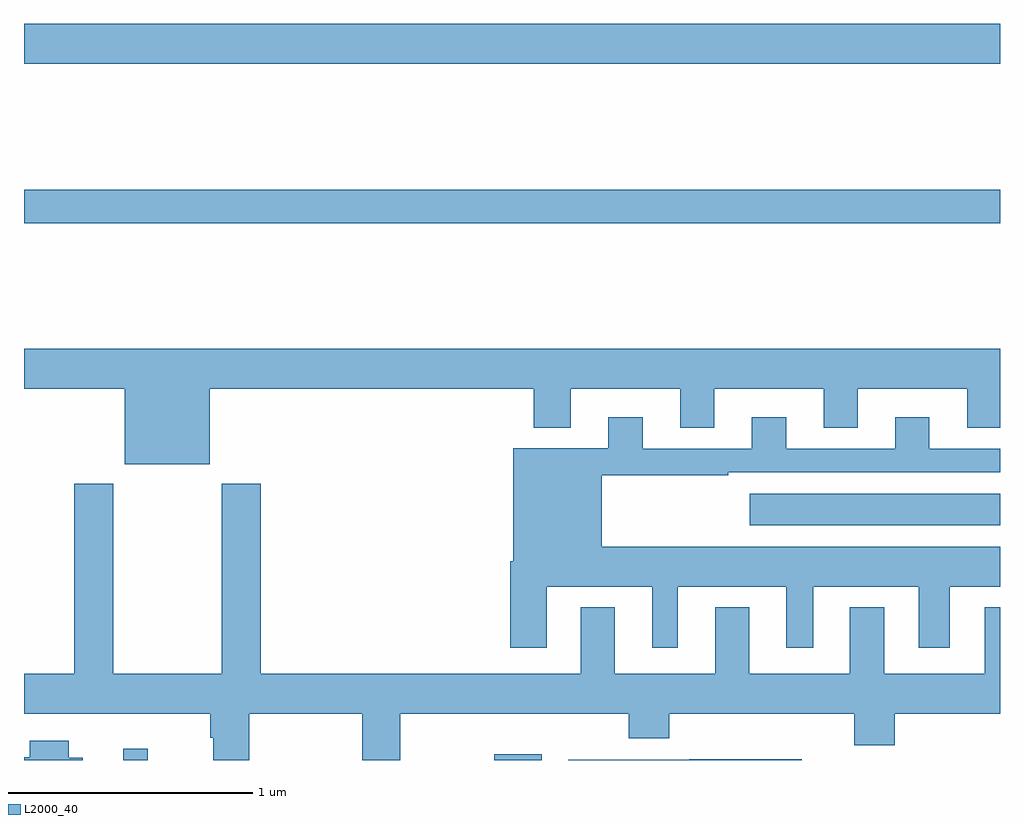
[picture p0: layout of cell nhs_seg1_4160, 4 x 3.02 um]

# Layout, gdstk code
import gdstk
lib = gdstk.Library(unit=1e-6, precision=1e-09)
def R(c, l, rs):  # rectangles x0, y0, x1, y1
    for r in rs: c.add(gdstk.rectangle(r[:2], r[2:], *l))
def P(c, l, *ps):  # polygons
    for p in ps: c.add(gdstk.Polygon(p, *l))
L2000_40 = (2000, 40)

nhs_seg1_4160 = lib.new_cell('nhs_seg1_4160')
R(nhs_seg1_4160, L2000_40, [(337.406,562.199,337.508,562.246), (338.928,562.199,339.121,562.222), (339.975,563.162,341,563.29), (337,564.4,341,564.536), (337,565.052,341,565.216)])
P(nhs_seg1_4160, L2000_40, [(337.762,563.72),(339.089,563.72),(339.089,563.561),(339.241,563.561),(339.241,563.72),(339.689,563.72),(339.689,563.56),(339.829,563.56),(339.829,563.72),(340.277,563.72),(340.277,563.56),(340.417,563.56),(340.417,563.72),(340.865,563.72),(340.865,563.56),(341,563.56),(341,563.884),(337,563.884),(337,563.72),(337.412,563.72),(337.412,563.411),(337.762,563.411)],
  [(339.142,562.91),(339.575,562.91),(339.575,562.659),(339.679,562.659),(339.679,562.91),(340.124,562.91),(340.124,562.659),(340.234,562.659),(340.234,562.91),(340.667,562.91),(340.667,562.659),(340.795,562.659),(340.795,562.91),(341,562.91),(341,563.074),(339.367,563.074),(339.367,563.367),(339.887,563.367),(339.887,563.379),(341,563.379),(341,563.475),(340.711,563.475),(340.711,563.605),(340.571,563.605),(340.571,563.475),(340.123,563.475),(340.123,563.605),(339.983,563.605),(339.983,563.475),(339.535,563.475),(339.535,563.605),(339.395,563.605),(339.395,563.476),(339.005,563.476),(339.005,563.014),(338.993,563.014),(338.993,562.659),(339.142,562.659)],
  [(337.923,562.388),(338.386,562.388),(338.386,562.199),(338.541,562.199),(338.541,562.388),(339.479,562.388),(339.479,562.289),(339.644,562.289),(339.644,562.388),(340.403,562.388),(340.403,562.26),(340.568,562.26),(340.568,562.388),(341,562.388),(341,562.825),(340.937,562.825),(340.937,562.552),(340.525,562.552),(340.525,562.825),(340.385,562.825),(340.385,562.552),(339.973,562.552),(339.973,562.825),(339.833,562.825),(339.833,562.552),(339.421,562.552),(339.421,562.825),(339.281,562.825),(339.281,562.552),(337.97,562.552),(337.97,563.332),(337.81,563.332),(337.81,562.552),(337.365,562.552),(337.365,563.332),(337.205,563.332),(337.205,562.552),(337,562.552),(337,562.388),(337.763,562.388),(337.763,562.29),(337.775,562.29),(337.775,562.199),(337.923,562.199)],
  [(337.24,562.209),(337.183,562.209),(337.183,562.279),(337.024,562.279),(337.024,562.21),(337,562.21),(337,562.199),(337.24,562.199)],
  [(340.188,562.202),(339.727,562.202),(339.727,562.2),(339.231,562.2),(339.231,562.199),(340.188,562.199)])

lib.write_gds('nhs_seg1_4160.gds')
